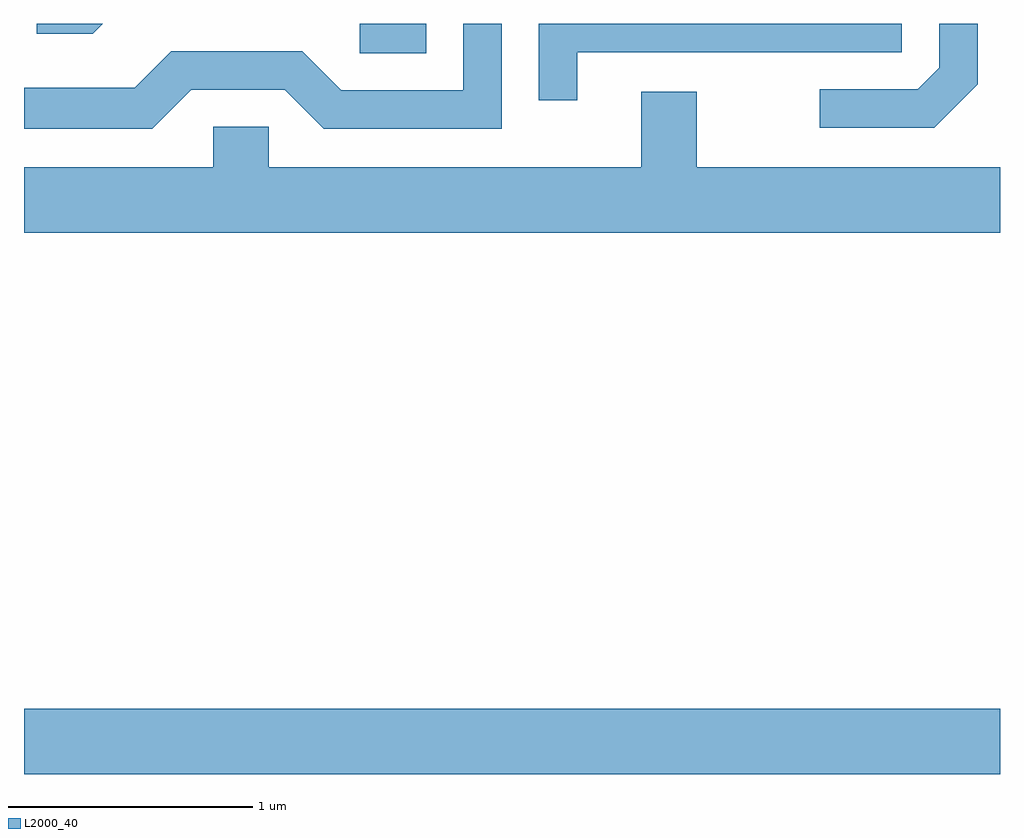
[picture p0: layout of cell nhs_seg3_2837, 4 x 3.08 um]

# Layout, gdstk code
import gdstk
lib = gdstk.Library(unit=1e-6, precision=1e-09)
def R(c, l, rs):  # rectangles x0, y0, x1, y1
    for r in rs: c.add(gdstk.rectangle(r[:2], r[2:], *l))
def P(c, l, *ps):  # polygons
    for p in ps: c.add(gdstk.Polygon(p, *l))
L2000_40 = (2000, 40)

nhs_seg3_2837 = lib.new_cell('nhs_seg3_2837')
R(nhs_seg3_2837, L2000_40, [(267.611,1214.816,271.611,1215.084), (268.988,1217.771,269.259,1217.892)])
P(nhs_seg3_2837, L2000_40, [(268.297,1217.621),(268.679,1217.621),(268.839,1217.461),(269.569,1217.461),(269.569,1217.892),(269.411,1217.892),(269.411,1217.619),(268.912,1217.619),(268.752,1217.779),(268.214,1217.779),(268.064,1217.629),(267.611,1217.629),(267.611,1217.461),(268.137,1217.461)],
  [(271.519,1217.644),(271.519,1217.892),(271.361,1217.892),(271.361,1217.712),(271.274,1217.624),(270.873,1217.624),(270.873,1217.466),(271.342,1217.466)],
  [(269.879,1217.776),(271.209,1217.776),(271.209,1217.892),(269.721,1217.892),(269.721,1217.578),(269.879,1217.578)],
  [(267.933,1217.892),(267.663,1217.892),(267.663,1217.851),(267.892,1217.851)],
  [(271.611,1217.304),(270.369,1217.304),(270.369,1217.614),(270.141,1217.614),(270.141,1217.304),(268.614,1217.304),(268.614,1217.469),(268.386,1217.469),(268.386,1217.304),(267.611,1217.304),(267.611,1217.036),(271.611,1217.036)])

lib.write_gds('nhs_seg3_2837.gds')
